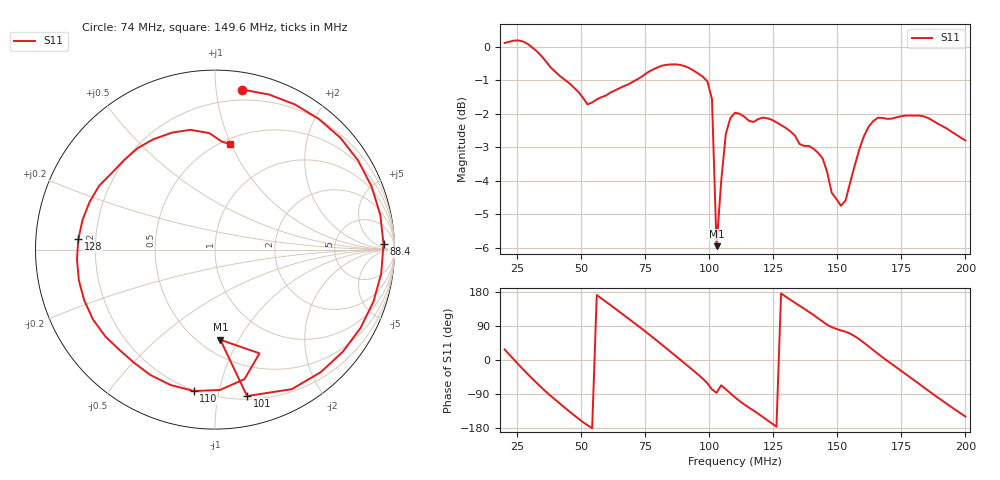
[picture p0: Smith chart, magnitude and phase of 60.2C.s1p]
# HZ S RI R 50
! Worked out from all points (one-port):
!   101 points, 20 MHz to 200 MHz, reference 50 ohm
!   lowest |S11| = -6.0 dB at 102.8 MHz (marker M1), VSWR 3.03, Z = 31.3 - j42.1 ohm
!   |S11| at or under -10 dB: nowhere
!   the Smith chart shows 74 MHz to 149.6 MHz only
!   S11 on the Smith chart (normalised r, x): 74 MHz: 0.12, +1.18; 88.4 MHz: 25, +13; 101 MHz: 0.23, -1.22; 110 MHz: 0.20, -0.84; 128 MHz: 0.13, +0.04; 149.6 MHz: 0.55, +0.99
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2e7  0.8957 0.4724
2.54e7  1 -0.2066
3.26e7  0.4751 -0.8618
3.8e7  -0.0757 -0.9276
4.34e7  -0.5149 -0.7296
4.88e7  -0.7732 -0.367
5.42e7  -0.8252 -0.00212
5.96e7  -0.7568 0.3767
6.5e7  -0.5145 0.6983
7.4e7  0.1517 0.8914
8.12e7  0.6997 0.6219
8.84e7  0.9389 0.0308
9.56e7  0.7127 -0.5686
1.01e8  0.1785 -0.8158
1.028e8  0.0299 -0.5027
1.046e8  0.2481 -0.5781
1.1e8  -0.1187 -0.7879
1.208e8  -0.6793 -0.3905
1.28e8  -0.7614 0.0582
1.334e8  -0.645 0.3563
1.424e8  -0.239 0.6519
1.496e8  0.0822 0.5867
1.55e8  0.22 0.5872
1.604e8  0.5167 0.5234
1.676e8  0.7765 0.0978
1.784e8  0.5507 -0.5653
1.874e8  -0.00327 -0.7748
2e8  -0.6221 -0.3711
